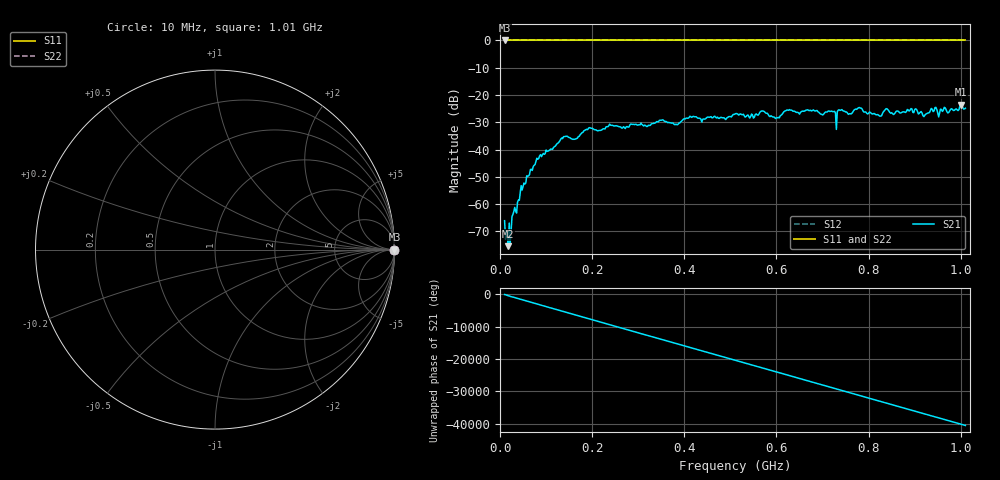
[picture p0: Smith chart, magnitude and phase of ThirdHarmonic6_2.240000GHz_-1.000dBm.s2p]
! 8/17/2025 2:37:03 AM
! C:\ANRITSUVNA\TEMP\TEMP.S2P
! CHANNEL.1
! TR.MEASUREMENT
! RAW.DATA
! RF.CORRECTION.OFF
! AVERAGING.OFF
! IF.BANDWIDTH: 5KHZ
! SWEEPTYPE:  FREQ.SWEEP(Linear)
! Reference Plane Port Info
! PORT:  PORT1  PORT2
! DISTANCE:  0  m  0  m
! TIME:  0  s  0  s
! PHASE.OFFSET:  0  deg.  0  deg.
! LOSS:  0  dB  0  dB
! REF.LOSS:  0  dB  0  dB
! REF.FREQ:  0  Hz  0  Hz
! Power Info
! POWER:  -20  dBm  -20  dBm
! EFF.POWER:  -20  dBm  -20  dBm
! SOURCE.ATTEN:  0  dB  0  dB
! TEST.ATTEN:  0  dB  0  dB
# GHZ S RI R 50.0
! FREQ.GHZ  S11RE  S11IM  S21RE  S21IM  S12RE  S12IM  S22RE  S22IM
!; PortSelection: Port_12
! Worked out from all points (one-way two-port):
!   501 points, 10 MHz to 1.01 GHz, reference 50 ohm
!   highest |S21| = -23.50 dB at 1 GHz (marker M1); lowest = -75.4 dB at 18 MHz (marker M2)
!   lowest |S11| = 0.0 dB at 10 MHz (marker M3)
!   |S11| at or under -10 dB: nowhere
!   |S22| runs from 0.0 to 0.0 dB; largest |S21 - S12| = 1.1
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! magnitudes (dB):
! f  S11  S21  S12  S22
! 10 MHz  0.0  -66.1  0.0  0.0
! 18 MHz  0.0  -75.4  0.0  0.0
! 48 MHz  0.0  -54.8  0.0  0.0
! 84 MHz  0.0  -43.2  0.0  0.0
! 138 MHz  0.0  -35.3  0.0  0.0
! 162 MHz  0.0  -36.2  0.0  0.0
! 178 MHz  0.0  -33.8  0.0  0.0
! 344 MHz  0.0  -29.8  0.0  0.0
! 382 MHz  0.0  -30.7  0.0  0.0
! 416 MHz  0.0  -28.2  0.0  0.0
! 510 MHz  0.0  -27.0  0.0  0.0
! 570 MHz  0.0  -25.9  0.0  0.0
! 602 MHz  0.0  -28.3  0.0  0.0
! 624 MHz  0.0  -25.5  0.0  0.0
! 678 MHz  0.0  -25.7  0.0  0.0
! 728 MHz  0.0  -26.5  0.0  0.0
! 780 MHz  0.0  -24.6  0.0  0.0
! 824 MHz  0.0  -27.7  0.0  0.0
! 844 MHz  0.0  -25.8  0.0  0.0
! 922 MHz  0.0  -27.4  0.0  0.0
! 1 GHz  0.0  -23.5  0.0  0.0
! 1.01 GHz  0.0  -24.8  0.0  0.0
